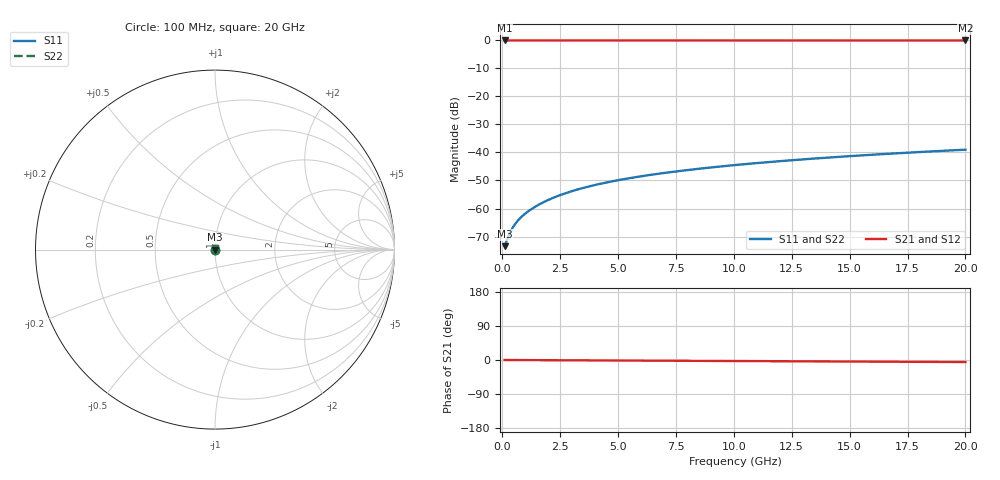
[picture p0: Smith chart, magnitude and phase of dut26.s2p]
! Touchstone file exported from HFSS 2026.1.0
!  File:  C:/ffzhzh/LocalFiles/Ansys_Project_Files/temp_train_TSV_26_1782958298_6388.aedt
!  Generated:  10:13:24 AM Jul  2, 2026
!  Design:  TSV
!  Project:  temp_train_TSV_26_1782958298_6388
! Variables:
!  h_bsmrdl = 2um
!  h_ox = 20um
!  h_rdl = 5um
!  h_sub = 52.69um
!  h_tmrdl = 5um
!  h_tsv = 52.69um
!  h_via = 3um
!  l_bsmrdl = 300um
!  l_sub = 412.6um
!  l_tmrdl = 200um
!  m_sub = 200um
!  pitch = 29.17um
!  r_tsv = 6.3um
!  s_tmrdl = 10um
!  w_bsmrdl = 18um
!  w_sub = 500um
!  w_tmrdl = 12um
!  x_tsv_center1 = 206um
!  x_tsv_center2 = 524um
!  x_tsv_center3 = 736um
!  x_tsv_center4 = 1054um
!  x_tsv_center5 = 1266um
!  x_tsv_center6 = 1584um
# GHz S MA R 50.000000
! Terminal data exported
! Port[1] = TSV1_1_T1
! Port[2] = TSV1_1_T2
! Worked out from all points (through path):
!   200 points, 100 MHz to 20 GHz, reference 50 ohm
!   highest |S21| = 0.00 dB at 100 MHz (marker M1); lowest = 0.0 dB at 20 GHz (marker M2)
!   lowest |S11| = -73.4 dB at 100 MHz (marker M3), VSWR 1.00, Z = 50 + j0.00931 ohm
!   |S11| at or under -10 dB: start of sweep to end of sweep
!   |S22| runs from -73.4 to -39.0 dB; largest |S21 - S12| = 3.8e-15
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0.1  0.0002126 25.9  0.9998 -0.0  0.9998 -0.0  0.0002126 25.9
! Gamma 0 0 0 0
! Port Impedance 50 0 50 0
0.3  0.0003455 50.6  0.9998 -0.1  0.9998 -0.1  0.0003455 50.6
0.4  0.0004194 55.4  0.9998 -0.1  0.9998 -0.1  0.0004194 55.4
0.5  0.0004911 58.4  0.9997 -0.1  0.9997 -0.1  0.0004911 58.4
0.6  0.0005599 60.5  0.9997 -0.2  0.9997 -0.2  0.0005599 60.5
0.8  0.0006906 63.6  0.9997 -0.2  0.9997 -0.2  0.0006906 63.6
1.1  0.0008777 67.0  0.9997 -0.3  0.9997 -0.3  0.0008777 67.0
1.3  0.001001 68.6  0.9996 -0.4  0.9996 -0.4  0.001001 68.6
1.6  0.001184 70.6  0.9996 -0.4  0.9996 -0.4  0.001184 70.6
2.1  0.001491 72.9  0.9996 -0.6  0.9996 -0.6  0.001491 72.9
2.7  0.001856 74.5  0.9995 -0.7  0.9995 -0.7  0.001856 74.5
3.5  0.002334 75.8  0.9995 -1.0  0.9995 -1.0  0.002334 75.8
4.2  0.002744 76.4  0.9994 -1.2  0.9994 -1.2  0.002744 76.4
5  0.003201 76.9  0.9993 -1.4  0.9993 -1.4  0.003201 76.9
5.9  0.003706 77.3  0.9993 -1.6  0.9993 -1.6  0.003706 77.3
6.8  0.004203 77.6  0.9992 -1.9  0.9992 -1.9  0.004203 77.6
8.3  0.00502 78.0  0.9991 -2.3  0.9991 -2.3  0.00502 78.0
10.1  0.005991 78.3  0.9991 -2.7  0.9991 -2.7  0.005991 78.3
11.7  0.006849 78.5  0.999 -3.2  0.999 -3.2  0.006849 78.5
13.4  0.007756 78.5  0.9989 -3.6  0.9989 -3.6  0.007756 78.5
16.7  0.0095 78.3  0.9988 -4.5  0.9988 -4.5  0.0095 78.3
20  0.01122 77.9  0.9986 -5.4  0.9986 -5.4  0.01122 77.9
